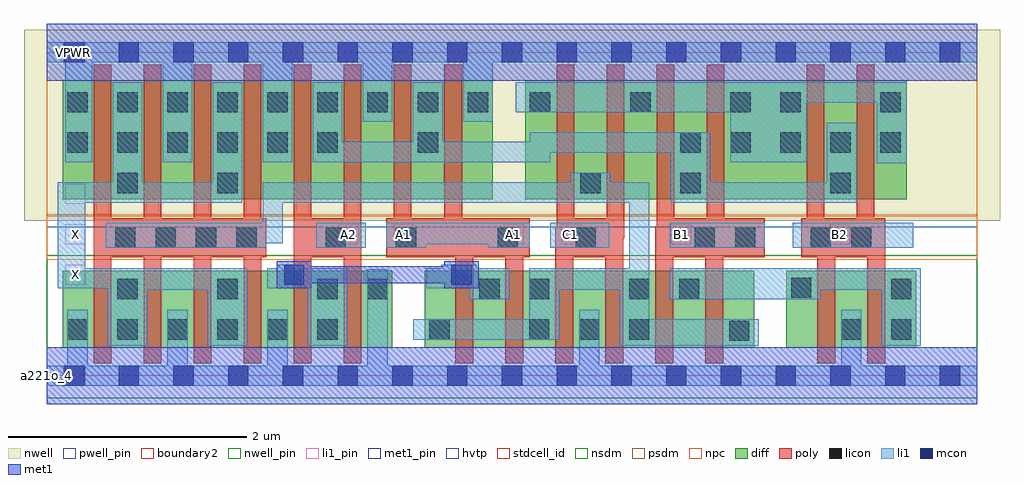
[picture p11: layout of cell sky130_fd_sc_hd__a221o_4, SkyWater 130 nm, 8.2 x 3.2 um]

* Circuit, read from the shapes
.subckt sky130_fd_sc_hd__a221o_4 A1 A2 B1 B2 C1 VGND VNB VPB VPWR X
XM1 X n1 VGND VNB sky130_fd_pr__nfet_01v8 w=0.65 l=0.15 m=4
XM2 n2 A2 VGND VNB sky130_fd_pr__nfet_01v8 w=0.65 l=0.15 m=2
XM3 n2 A1 n1 VNB sky130_fd_pr__nfet_01v8 w=0.65 l=0.15 m=2
XM4 VGND C1 n1 VNB sky130_fd_pr__nfet_01v8 w=0.65 l=0.15 m=2
XM5 n3 B1 n1 VNB sky130_fd_pr__nfet_01v8 w=0.65 l=0.15 m=2
XM6 VGND B2 n3 VNB sky130_fd_pr__nfet_01v8 w=0.65 l=0.15 m=2
XM7 X n1 VPWR VPB sky130_fd_pr__pfet_01v8_hvt w=1 l=0.15 m=4
XM8 n4 A2 VPWR VPB sky130_fd_pr__pfet_01v8_hvt w=1 l=0.15 m=2
XM9 n4 A1 VPWR VPB sky130_fd_pr__pfet_01v8_hvt w=1 l=0.15 m=2
XM10 n1 C1 n5 VPB sky130_fd_pr__pfet_01v8_hvt w=1 l=0.15 m=2
XM11 n4 B1 n5 VPB sky130_fd_pr__pfet_01v8_hvt w=1 l=0.15 m=2
XM12 n4 B2 n5 VPB sky130_fd_pr__pfet_01v8_hvt w=1 l=0.15 m=2
.ends

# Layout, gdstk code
import gdstk
lib = gdstk.Library(unit=1e-6, precision=1e-09)
def R(c, l, rs):  # rectangles x0, y0, x1, y1
    for r in rs: c.add(gdstk.rectangle(r[:2], r[2:], *l))
def A(c, l, x, y, w, h, nx, ny, dx, dy):  # array of equal rectangles
    R(c, l, [(x+i*dx, y+j*dy, x+i*dx+w, y+j*dy+h) for i in range(nx) for j in range(ny)])
def P(c, l, *ps):  # polygons
    for p in ps: c.add(gdstk.Polygon(p, *l))
nwell_pin = (64, 16)
nwell = (64, 20)
diff = (65, 20)
poly = (66, 20)
licon = (66, 44)
li1_pin = (67, 16)
li1 = (67, 20)
mcon = (67, 44)
met1_pin = (68, 16)
met1 = (68, 20)
hvtp = (78, 44)
stdcell_id = (81, 4)
nsdm = (93, 44)
psdm = (94, 20)
npc = (95, 20)
pwell_pin = (122, 16)
boundary2 = (236, 0)

sky130_fd_sc_hd__a221o_4 = lib.new_cell('sky130_fd_sc_hd__a221o_4')
R(sky130_fd_sc_hd__a221o_4, nwell_pin, [(0.155,2.635,0.325,2.805)])
R(sky130_fd_sc_hd__a221o_4, nwell, [(-0.19,1.305,8.01,2.91)])
R(sky130_fd_sc_hd__a221o_4, diff, [(0.135,0.235,2.905,0.885), (3.175,0.235,5.945,0.885), (6.215,0.235,7.305,0.885), (0.135,1.485,3.75,2.485), (4.02,1.485,7.225,2.485)])
P(sky130_fd_sc_hd__a221o_4, poly, [(4.855,2.615),(4.705,2.615),(4.705,1.325),(4.435,1.325),(4.435,2.615),(4.285,2.615),(4.285,1.25),(4.275,1.25),(4.275,0.105),(4.425,0.105),(4.425,0.995),(4.695,0.995),(4.695,0.105),(4.845,0.105),(4.845,1.155),(4.855,1.155)],
  [(6.035,1.325),(5.695,1.325),(5.695,2.615),(5.545,2.615),(5.545,1.325),(5.275,1.325),(5.275,2.615),(5.125,2.615),(5.125,1.255),(5.115,1.255),(5.115,0.105),(5.265,0.105),(5.265,0.995),(5.535,0.995),(5.535,0.105),(5.685,0.105),(5.685,0.995),(6.035,0.995)],
  [(7.045,1.325),(6.955,1.325),(6.955,2.615),(6.805,2.615),(6.805,1.325),(6.535,1.325),(6.535,2.615),(6.385,2.615),(6.385,1.325),(6.34,1.325),(6.34,0.995),(6.475,0.995),(6.475,0.105),(6.625,0.105),(6.625,0.995),(6.895,0.995),(6.895,0.105),(7.045,0.105)],
  [(2.645,2.615),(2.495,2.615),(2.495,1.325),(2.225,1.325),(2.225,2.615),(2.075,2.615),(2.075,0.105),(2.225,0.105),(2.225,0.995),(2.495,0.995),(2.495,0.105),(2.645,0.105)],
  [(4.06,1.325),(3.49,1.325),(3.49,2.615),(3.34,2.615),(3.34,1.325),(3.065,1.325),(3.065,2.615),(2.915,2.615),(2.915,1.325),(2.855,1.325),(2.855,0.995),(3.435,0.995),(3.435,0.105),(3.585,0.105),(3.585,0.995),(3.855,0.995),(3.855,0.105),(4.005,0.105),(4.005,0.995),(4.06,0.995)],
  [(1.845,1.325),(1.805,1.325),(1.805,2.615),(1.655,2.615),(1.655,1.325),(1.385,1.325),(1.385,2.615),(1.235,2.615),(1.235,1.325),(0.965,1.325),(0.965,2.615),(0.815,2.615),(0.815,1.325),(0.545,1.325),(0.545,2.615),(0.395,2.615),(0.395,0.105),(0.545,0.105),(0.545,0.995),(0.815,0.995),(0.815,0.105),(0.965,0.105),(0.965,0.995),(1.235,0.995),(1.235,0.105),(1.385,0.105),(1.385,0.995),(1.655,0.995),(1.655,0.105),(1.805,0.105),(1.805,0.995),(1.845,0.995)])
A(sky130_fd_sc_hd__a221o_4, licon, 0.175, 0.305, 0.17, 0.17, 6, 2, 0.42, 1.57)
A(sky130_fd_sc_hd__a221o_4, licon, 4.055, 0.305, 0.17, 0.17, 3, 1, 0.42, 0)
A(sky130_fd_sc_hd__a221o_4, licon, 0.595, 0.645, 0.17, 0.17, 3, 1, 0.84, 0)
A(sky130_fd_sc_hd__a221o_4, licon, 0.575, 1.075, 0.17, 0.17, 4, 1, 0.34, 0)
A(sky130_fd_sc_hd__a221o_4, licon, 5.325, 1.875, 0.17, 0.17, 5, 1, 0.42, 0)
A(sky130_fd_sc_hd__a221o_4, licon, 0.175, 2.215, 0.17, 0.17, 7, 1, 0.42, 0)
R(sky130_fd_sc_hd__a221o_4, licon, [(5.735,0.295,5.905,0.465), (3.215,0.305,3.385,0.475), (6.675,0.305,6.845,0.475), (7.095,0.305,7.265,0.475), (2.695,0.645,2.865,0.815), (3.635,0.645,3.805,0.815), (4.055,0.645,4.225,0.815), (4.895,0.645,5.065,0.815), (5.315,0.645,5.485,0.815), (7.095,0.645,7.265,0.815), (6.255,0.655,6.425,0.825), (2.345,1.075,2.515,1.245), (2.935,1.075,3.105,1.245), (3.79,1.075,3.96,1.245), (4.445,1.075,4.615,1.245), (5.445,1.075,5.615,1.245), (5.785,1.075,5.955,1.245), (6.42,1.075,6.59,1.245), (6.76,1.075,6.93,1.245), (0.595,1.535,0.765,1.705), (1.435,1.535,1.605,1.705), (4.485,1.535,4.655,1.705), (5.325,1.535,5.495,1.705), (6.585,1.535,6.755,1.705), (3.12,1.875,3.29,2.045), (3.12,2.215,3.29,2.385), (3.54,2.215,3.71,2.385), (4.06,2.215,4.23,2.385), (4.905,2.215,5.075,2.385), (5.745,2.215,5.915,2.385), (6.165,2.215,6.335,2.385), (7.005,2.215,7.175,2.385)])
A(sky130_fd_sc_hd__a221o_4, li1_pin, 0.155, 0.765, 0.17, 0.17, 1, 3, 0, 0.34)
R(sky130_fd_sc_hd__a221o_4, li1_pin, [(2.455,1.105,2.625,1.275), (2.915,1.105,3.085,1.275), (3.84,1.105,4.01,1.275), (4.325,1.105,4.495,1.275), (5.245,1.105,5.415,1.275), (6.58,1.105,6.75,1.275)])
R(sky130_fd_sc_hd__a221o_4, li1, [(2.265,1.075,2.68,1.285), (4.23,1.075,4.725,1.285), (5.235,1.075,6.035,1.285), (6.27,1.075,7.28,1.285)])
P(sky130_fd_sc_hd__a221o_4, li1, [(7.82,2.805),(0,2.805),(0,2.635),(0.155,2.635),(0.155,1.795),(0.385,1.795),(0.385,2.635),(0.975,2.635),(0.975,1.795),(1.225,1.795),(1.225,2.635),(1.815,2.635),(1.815,1.795),(2.065,1.795),(2.065,2.635),(2.655,2.635),(2.655,2.135),(2.905,2.135),(2.905,2.635),(3.5,2.635),(3.5,2.135),(3.75,2.135),(3.75,2.635),(7.82,2.635)],
  [(4.06,1.285),(2.855,1.285),(2.855,1.075),(3.19,1.075),(3.19,1.105),(3.71,1.105),(3.71,1.075),(4.06,1.075)],
  [(7.82,0.085),(6.845,0.085),(6.845,0.555),(6.675,0.555),(6.675,0.085),(4.645,0.085),(4.645,0.555),(4.475,0.555),(4.475,0.085),(2.865,0.085),(2.865,0.895),(2.695,0.895),(2.695,0.085),(2.025,0.085),(2.025,0.555),(1.855,0.555),(1.855,0.085),(1.185,0.085),(1.185,0.555),(1.015,0.555),(1.015,0.085),(0.345,0.085),(0.345,0.555),(0.175,0.555),(0.175,0.085),(0,0.085),(0,-0.085),(7.82,-0.085)],
  [(5.985,0.475),(5.065,0.475),(5.065,1.625),(4.735,1.625),(4.735,1.705),(4.405,1.705),(4.405,1.625),(1.815,1.625),(1.815,1.285),(0.495,1.285),(0.495,1.075),(1.845,1.075),(1.845,1.115),(1.985,1.115),(1.985,1.455),(4.895,1.455),(4.895,0.905),(4.055,0.905),(4.055,0.475),(3.08,0.475),(3.08,0.305),(4.305,0.305),(4.305,0.725),(4.815,0.725),(4.815,0.255),(5.985,0.255)],
  [(6.805,2.125),(6.555,2.125),(6.555,1.625),(5.575,1.625),(5.575,2.045),(4.06,2.045),(4.06,1.965),(3.33,1.965),(3.33,2.465),(3.075,2.465),(3.075,1.965),(2.485,1.965),(2.485,2.465),(2.235,2.465),(2.235,1.795),(4.23,1.795),(4.23,1.875),(5.245,1.875),(5.245,1.455),(6.805,1.455)],
  [(7.225,2.465),(3.94,2.465),(3.94,2.215),(5.745,2.215),(5.745,1.795),(6.385,1.795),(6.385,2.295),(6.975,2.295),(6.975,1.785),(7.225,1.785)],
  [(7.345,0.905),(5.235,0.905),(5.235,0.645),(6.505,0.645),(6.505,0.725),(7.015,0.725),(7.015,0.255),(7.345,0.255)],
  [(3.885,0.905),(3.61,0.905),(3.61,0.935),(3.315,0.935),(3.315,0.905),(3.19,0.905),(3.19,0.735),(3.55,0.735),(3.55,0.645),(3.885,0.645)],
  [(2.525,0.905),(2.165,0.905),(2.165,0.935),(1.945,0.935),(1.945,0.905),(1.855,0.905),(1.855,0.735),(2.195,0.735),(2.195,0.255),(2.525,0.255)],
  [(1.685,0.905),(0.325,0.905),(0.325,1.455),(1.645,1.455),(1.645,2.465),(1.395,2.465),(1.395,1.625),(0.805,1.625),(0.805,2.465),(0.555,2.465),(0.555,1.625),(0.095,1.625),(0.095,0.735),(0.515,0.735),(0.515,0.255),(0.845,0.255),(0.845,0.725),(1.355,0.725),(1.355,0.255),(1.685,0.255)])
A(sky130_fd_sc_hd__a221o_4, mcon, 0.145, -0.085, 0.17, 0.17, 17, 2, 0.46, 2.72)
R(sky130_fd_sc_hd__a221o_4, mcon, [(1.995,0.765,2.165,0.935), (3.4,0.765,3.57,0.935)])
R(sky130_fd_sc_hd__a221o_4, met1_pin, [(0.155,-0.085,0.325,0.085), (0.155,2.635,0.325,2.805)])
P(sky130_fd_sc_hd__a221o_4, met1, [(3.63,0.965),(3.34,0.965),(3.34,0.92),(2.225,0.92),(2.225,0.965),(1.935,0.965),(1.935,0.735),(2.225,0.735),(2.225,0.78),(3.34,0.78),(3.34,0.735),(3.63,0.735)])
R(sky130_fd_sc_hd__a221o_4, hvtp, [(0,1.25,7.82,2.72)])
R(sky130_fd_sc_hd__a221o_4, stdcell_id, [(0,0,7.82,2.72)])
R(sky130_fd_sc_hd__a221o_4, nsdm, [(0,-0.19,7.82,1.015)])
R(sky130_fd_sc_hd__a221o_4, psdm, [(0,1.355,7.82,2.91)])
R(sky130_fd_sc_hd__a221o_4, npc, [(0,0.975,7.82,1.345)])
R(sky130_fd_sc_hd__a221o_4, pwell_pin, [(0.155,-0.085,0.325,0.085)])
R(sky130_fd_sc_hd__a221o_4, boundary2, [(0,0,7.82,2.72)])
sky130_fd_sc_hd__a221o_4.add(gdstk.FlexPath([(0,0),(7.82,0)], 0.48, ends="flush", simple_path=True, layer=68, datatype=20))  # met1
sky130_fd_sc_hd__a221o_4.add(gdstk.FlexPath([(0,2.72),(7.82,2.72)], 0.48, ends="flush", simple_path=True, layer=68, datatype=20))  # met1
sky130_fd_sc_hd__a221o_4.add(gdstk.Label('a221o_4', (0,0), layer=83, texttype=44))
sky130_fd_sc_hd__a221o_4.add(gdstk.Label('VGND', (0.23,0), layer=68, texttype=5))
sky130_fd_sc_hd__a221o_4.add(gdstk.Label('VPWR', (0.23,2.72), layer=68, texttype=5))
sky130_fd_sc_hd__a221o_4.add(gdstk.Label('VPB', (0.24,2.72), layer=64, texttype=5))
sky130_fd_sc_hd__a221o_4.add(gdstk.Label('VNB', (0.24,0), layer=64, texttype=59))
sky130_fd_sc_hd__a221o_4.add(gdstk.Label('A1', (3.925,1.19), layer=67, texttype=5))
sky130_fd_sc_hd__a221o_4.add(gdstk.Label('X', (0.24,0.85), layer=67, texttype=5))
sky130_fd_sc_hd__a221o_4.add(gdstk.Label('A2', (2.54,1.19), layer=67, texttype=5))
sky130_fd_sc_hd__a221o_4.add(gdstk.Label('X', (0.24,1.19), layer=67, texttype=5))
sky130_fd_sc_hd__a221o_4.add(gdstk.Label('B2', (6.665,1.19), layer=67, texttype=5))
sky130_fd_sc_hd__a221o_4.add(gdstk.Label('C1', (4.405,1.19), layer=67, texttype=5))
sky130_fd_sc_hd__a221o_4.add(gdstk.Label('B1', (5.33,1.19), layer=67, texttype=5))
sky130_fd_sc_hd__a221o_4.add(gdstk.Label('A1', (3,1.19), layer=67, texttype=5))

lib.write_gds('sky130_fd_sc_hd__a221o_4.gds')
